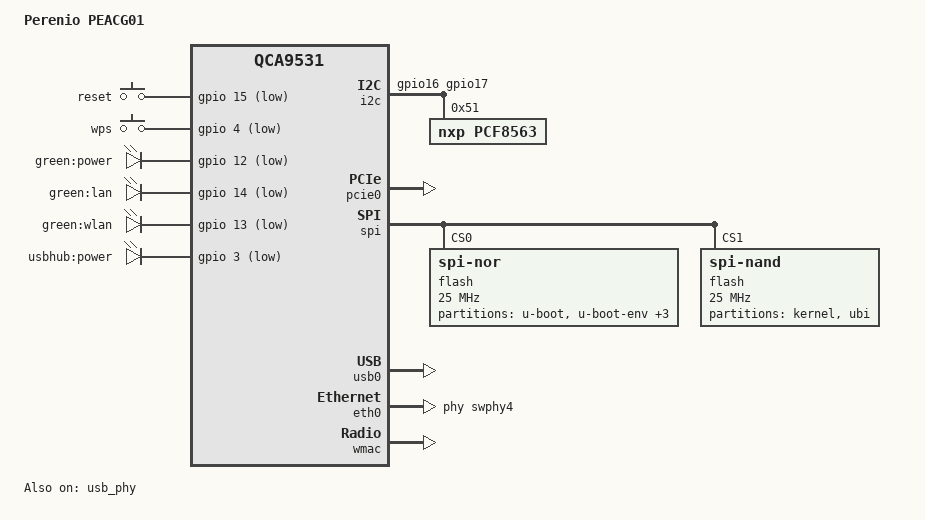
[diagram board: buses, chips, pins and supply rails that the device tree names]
// SPDX-License-Identifier: GPL-2.0-or-later OR MIT

#include "qca953x.dtsi"

#include <dt-bindings/gpio/gpio.h>
#include <dt-bindings/input/input.h>

/ {
	compatible = "perenio,peacg01", "qca,qca9531";
	model = "Perenio PEACG01";

	aliases {
		led-boot = &led_power;
		led-failsafe = &led_power;
		led-running = &led_power;
		led-upgrade = &led_power;
		label-mac-device = &eth0;
	};

	keys {
		compatible = "gpio-keys";

		reset {
			label = "reset";
			linux,code = <KEY_RESTART>;
			gpios = <&gpio 15 GPIO_ACTIVE_LOW>;
		};

		wps {
			label = "wps";
			linux,code = <BTN_0>;
			gpios = <&gpio 4 GPIO_ACTIVE_LOW>;
		};
	};

	leds {
		compatible = "gpio-leds";

		led_power: power {
			label = "green:power";
			gpios = <&gpio 12 GPIO_ACTIVE_LOW>;
		};

		lan {
			label = "green:lan";
			gpios = <&gpio 14 GPIO_ACTIVE_LOW>;
		};

		wlan {
			label = "green:wlan";
			gpios = <&gpio 13 GPIO_ACTIVE_LOW>;
			linux,default-trigger = "phy0tpt";
		};

		gpio3 {
			label = "usbhub:power";
			gpios = <&gpio 3 GPIO_ACTIVE_LOW>;
		};

	};

	i2c {
		status = "okay";
		compatible = "i2c-gpio";
		#address-cels = <1>;
		#size-cells = <0>;

		pinctrl-names = "default";
		pinctrl-0 = <&enable_gpio16_gpio17>;

                sda-gpios = <&gpio 17 (GPIO_ACTIVE_HIGH|GPIO_OPEN_DRAIN)>;
                scl-gpios = <&gpio 16 (GPIO_ACTIVE_HIGH|GPIO_OPEN_DRAIN)>;
		
		pcf8563: pcf8563@51 {
			compatible = "nxp,pcf8563";
			reg = <0x51>;
			#clock-cells = <0>;
	};
	
	};

};

&gpio {
	status = "okay";
	pinctrl-names = "default";
	pinctrl-0 = <&jtag_disable_pins>;
};

&pinmux {
	enable_gpio16_gpio17: pinmux_enable_gpio16_gpio17 {
 	pinctrl-single,bits = <0x10 0x0 0x0000ffff>;
	};
};

&pcie0 {
	status = "okay";
};

&spi {
	status = "okay";

	flash@0 {
		compatible = "jedec,spi-nor";
		reg = <0>;
		spi-max-frequency = <25000000>;

		partitions {
			compatible = "fixed-partitions";
			#address-cells = <1>;
			#size-cells = <1>;

			partition@0 {
				label = "u-boot";
				reg = <0x0 0x40000>;
				read-only;
			};

			partition@40000 {
				label = "u-boot-env";
				reg = <0x40000 0x10000>;
			};
			
			partition@50000 {
				label = "u-boot-env-bak";
				reg = <0x50000 0x10000>;
			};
			
			partition@60000 {
				label = "reserved";
				reg = <0x60000 0x10000>;
			};
			
			art: partition@70000 {
				label = "art";
				reg = <0x70000 0x10000>;
				read-only;
			};

		};
	};

	flash@1 {
		compatible = "spi-nand";
		reg = <1>;
		spi-max-frequency = <25000000>;

		partitions {
			compatible = "fixed-partitions";
			#address-cells = <1>;
			#size-cells = <1>;

			partition@0 {
				label = "kernel";
				reg = <0x0 0x400000>;
			};

			partition@400000 {
				label = "ubi";
				reg = <0x400000 0x7C00000>;
			};

		};
	};
};

&usb0 {
	status = "okay";
	#address-cells = <1>;
	#size-cells = <0>;
};

&usb_phy {
	status = "okay";
};

&eth0 {
	status = "okay";
	phy-handle = <&swphy4>;
	mtd-mac-address = <&art 0x0>;
};

&eth1 {
	compatible = "syscon", "simple-mfd";
};

&wmac {
	status = "okay";
	mtd-cal-data = <&art 0x1000>;
};
